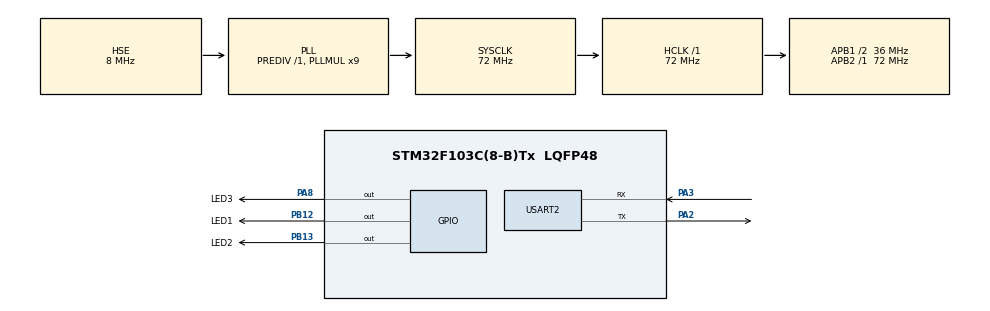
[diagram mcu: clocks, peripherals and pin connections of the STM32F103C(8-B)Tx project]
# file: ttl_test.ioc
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Dma.Request0=USART2_RX
Dma.Request1=USART2_TX
Dma.USART2_RX.0.Direction=DMA_PERIPH_TO_MEMORY
Dma.USART2_RX.0.Instance=DMA1_Channel6
Dma.USART2_RX.0.MemDataAlignment=DMA_MDATAALIGN_BYTE
Dma.USART2_RX.0.MemInc=DMA_MINC_ENABLE
Dma.USART2_RX.0.Mode=DMA_NORMAL
Dma.USART2_RX.0.PeriphDataAlignment=DMA_PDATAALIGN_BYTE
Dma.USART2_RX.0.PeriphInc=DMA_PINC_DISABLE
Dma.USART2_RX.0.Priority=DMA_PRIORITY_LOW
Dma.USART2_TX.1.Direction=DMA_MEMORY_TO_PERIPH
Dma.USART2_TX.1.Instance=DMA1_Channel7
Dma.USART2_TX.1.MemDataAlignment=DMA_MDATAALIGN_BYTE
Dma.USART2_TX.1.MemInc=DMA_MINC_ENABLE
Dma.USART2_TX.1.Mode=DMA_NORMAL
Dma.USART2_TX.1.PeriphDataAlignment=DMA_PDATAALIGN_BYTE
Dma.USART2_TX.1.PeriphInc=DMA_PINC_DISABLE
Dma.USART2_TX.1.Priority=DMA_PRIORITY_LOW
Mcu.Family=STM32F1
Mcu.Name=STM32F103C(8-B)Tx
Mcu.Package=LQFP48
NVIC.DMA1_Channel6_IRQn=true\:0\:0\:false\:false\:true\:false\:true\:true
NVIC.DMA1_Channel7_IRQn=true\:0\:0\:false\:false\:true\:false\:true\:true
NVIC.PriorityGroup=NVIC_PRIORITYGROUP_4
NVIC.USART2_IRQn=true\:0\:0\:false\:false\:true\:true\:true\:true
PA13.Mode=Serial_Wire
PA13.Signal=SYS_JTMS-SWDIO
PA14.Mode=Serial_Wire
PA14.Signal=SYS_JTCK-SWCLK
PA2.Mode=Asynchronous
PA2.Signal=USART2_TX
PA3.Mode=Asynchronous
PA3.Signal=USART2_RX
PA8.GPIO_Label=LED3
PA8.Signal=GPIO_Output
PB12.GPIO_Label=LED1
PB12.Signal=GPIO_Output
PB13.GPIO_Label=LED2
PB13.Signal=GPIO_Output
PD0-OSC_IN.Mode=HSE-External-Oscillator
PD0-OSC_IN.Signal=RCC_OSC_IN
PD1-OSC_OUT.Mode=HSE-External-Oscillator
PD1-OSC_OUT.Signal=RCC_OSC_OUT
ProjectManager.HeapSize=0x200
ProjectManager.StackSize=0x400
ProjectManager.TargetToolchain=MDK-ARM V5.32
RCC.AHBFreq_Value=72000000
RCC.APB1CLKDivider=RCC_HCLK_DIV2
RCC.APB1Freq_Value=36000000
RCC.APB1TimFreq_Value=72000000
RCC.APB2Freq_Value=72000000
RCC.APB2TimFreq_Value=72000000
RCC.HCLKFreq_Value=72000000
RCC.PLLMUL=RCC_PLL_MUL9
RCC.PLLSourceVirtual=RCC_PLLSOURCE_HSE
RCC.SYSCLKFreq_VALUE=72000000
RCC.SYSCLKSource=RCC_SYSCLKSOURCE_PLLCLK
RCC.USBFreq_Value=72000000
USART2.VirtualMode=VM_ASYNC
board=custom

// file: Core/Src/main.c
/* USER CODE BEGIN Header */
/**
  ******************************************************************************
  * @file           : main.c
  * @brief          : Main program body
  ******************************************************************************
  * @attention
  *
  * Copyright (c) 2025 STMicroelectronics.
  * All rights reserved.
  *
  * This software is licensed under terms that can be found in the LICENSE file
  * in the root directory of this software component.
  * If no LICENSE file comes with this software, it is provided AS-IS.
  *
  ******************************************************************************
  */
/* USER CODE END Header */
#include "main.h"
#include "dma.h"
#include "usart.h"
#include "gpio.h"

/* USER CODE BEGIN Includes */
#include <string.h>
/* USER CODE END Includes */

/* USER CODE BEGIN PV */
uint8_t receiveData[2];

/* USER CODE END PV */

void SystemClock_Config(void);

/* USER CODE BEGIN 0 */
void HAL_UART_RxCpltCallback(UART_HandleTypeDef *huart)
{
	HAL_UART_Transmit_IT(&huart2,receiveData,2);
		GPIO_PinState state=GPIO_PIN_SET;
		if(receiveData[1]=='0')
			state=GPIO_PIN_RESET;
		if(receiveData[0]=='R')
			HAL_GPIO_WritePin(LED1_GPIO_Port,LED1_Pin,state);
		else if(receiveData[0]=='G')
			HAL_GPIO_WritePin(LED2_GPIO_Port,LED2_Pin,state);
		else if(receiveData[0]=='B')
			HAL_GPIO_WritePin(LED3_GPIO_Port,LED3_Pin,state);
		HAL_UART_Receive_IT(&huart2,receiveData,2);
//HAL_GPIO_WritePin(LED1_GPIO_Port,LED1_Pin,GPIO_PIN_SET);
};

//extern DMA_HandleTypeDef hdma_usart2_rx;
//void HAL_UARTEx_RxEventCallback(UART_HandleTypeDef *huart, uint16_t Size)
//{
//	if(huart==&huart2)
//{
//		HAL_UART_Transmit_DMA(&huart2,receiveData,Size);
//		HAL_UARTEx_ReceiveToIdle_DMA(&huart2,receiveData,sizeof(receiveData));
////	__HAL_DMA_DISABLE_IT(&hdma_usart2_rx,DMA_IT_HT);
//}
//};

/* USER CODE END 0 */

int main(void)
{

  /* MCU Configuration--------------------------------------------------------*/

  /* Reset of all peripherals, Initializes the Flash interface and the Systick. */
  HAL_Init();

  /* Configure the system clock */
  SystemClock_Config();

  /* Initialize all configured peripherals */
  MX_GPIO_Init();
  MX_DMA_Init();
  MX_USART2_UART_Init();
  /* USER CODE BEGIN 2 */
//	char message[]="hellow";
		HAL_UART_Receive_IT(&huart2,receiveData,2);
//	HAL_UARTEx_ReceiveToIdle_IT(&huart2,receiveData,sizeof(receiveData));
  /* USER CODE END 2 */

  /* Infinite loop */
  /* USER CODE BEGIN WHILE */
  while (1)
  {

//		HAL_GPIO_WritePin(LED1_GPIO_Port,LED1_Pin,GPIO_PIN_SET);
//		HAL_UART_Receive(&huart2,receiveData,2,HAL_MAX_DELAY);
//		HAL_UART_Transmit(&huart2,receiveData ,2,100);
//
//		HAL_UART_Transmit(&huart2,(uint8_t*)message ,strlen(message),100);
//		HAL_Delay(10);
    /* USER CODE END WHILE */

  }
}

void SystemClock_Config(void)
{
  RCC_OscInitTypeDef RCC_OscInitStruct = {0};
  RCC_ClkInitTypeDef RCC_ClkInitStruct = {0};

  /** Initializes the RCC Oscillators according to the specified parameters
  * in the RCC_OscInitTypeDef structure.
  */
  RCC_OscInitStruct.OscillatorType = RCC_OSCILLATORTYPE_HSE;
  RCC_OscInitStruct.HSEState = RCC_HSE_ON;
  RCC_OscInitStruct.HSEPredivValue = RCC_HSE_PREDIV_DIV1;
  RCC_OscInitStruct.HSIState = RCC_HSI_ON;
  RCC_OscInitStruct.PLL.PLLState = RCC_PLL_ON;
  RCC_OscInitStruct.PLL.PLLSource = RCC_PLLSOURCE_HSE;
  RCC_OscInitStruct.PLL.PLLMUL = RCC_PLL_MUL9;
  if (HAL_RCC_OscConfig(&RCC_OscInitStruct) != HAL_OK)
  {
    Error_Handler();
  }

  /** Initializes the CPU, AHB and APB buses clocks
  */
  RCC_ClkInitStruct.ClockType = RCC_CLOCKTYPE_HCLK|RCC_CLOCKTYPE_SYSCLK
                              |RCC_CLOCKTYPE_PCLK1|RCC_CLOCKTYPE_PCLK2;
  RCC_ClkInitStruct.SYSCLKSource = RCC_SYSCLKSOURCE_PLLCLK;
  RCC_ClkInitStruct.AHBCLKDivider = RCC_SYSCLK_DIV1;
  RCC_ClkInitStruct.APB1CLKDivider = RCC_HCLK_DIV2;
  RCC_ClkInitStruct.APB2CLKDivider = RCC_HCLK_DIV1;

  if (HAL_RCC_ClockConfig(&RCC_ClkInitStruct, FLASH_LATENCY_2) != HAL_OK)
  {
    Error_Handler();
  }
}

void Error_Handler(void)
{
  __disable_irq();
  while (1)
  {
  }
}
